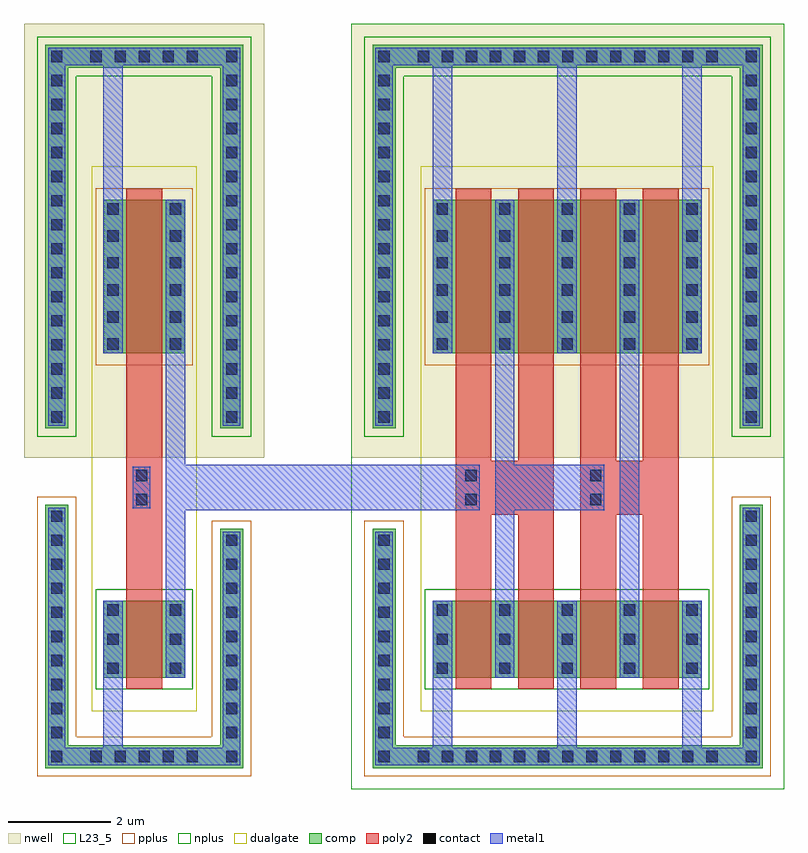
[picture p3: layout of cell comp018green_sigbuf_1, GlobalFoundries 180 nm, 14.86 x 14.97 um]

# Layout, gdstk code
import gdstk
lib = gdstk.Library(unit=1e-6, precision=1e-09)
def R(c, l, rs):  # rectangles x0, y0, x1, y1
    for r in rs: c.add(gdstk.rectangle(r[:2], r[2:], *l))
def A(c, l, x, y, w, h, nx, ny, dx, dy):  # array of equal rectangles
    R(c, l, [(x+i*dx, y+j*dy, x+i*dx+w, y+j*dy+h) for i in range(nx) for j in range(ny)])
nwell = (21, 0)
comp = (22, 0)
L23_5 = (23, 5)
poly2 = (30, 0)
pplus = (31, 0)
nplus = (32, 0)
contact = (33, 0)
metal1 = (34, 0)
dualgate = (55, 0)

nmos_6p0_cdns_4066195314 = lib.new_cell('nmos_6p0_CDNS_4066195314530')
R(nmos_6p0_cdns_4066195314, comp, [(-0.44,0,-0.08,1.5), (-0.44,0,1.14,1.5), (0.78,0,1.14,1.5)])
R(nmos_6p0_cdns_4066195314, poly2, [(0,-0.22,0.7,1.72), (0,1.5,0.7,1.72)])
R(nmos_6p0_cdns_4066195314, nplus, [(-0.6,-0.23,1.3,1.73)])
A(nmos_6p0_cdns_4066195314, contact, -0.37, 0.07, 0.22, 0.22, 1, 3, 0, 0.57)
A(nmos_6p0_cdns_4066195314, contact, 0.85, 0.07, 0.22, 0.22, 1, 3, 0, 0.57)
R(nmos_6p0_cdns_4066195314, metal1, [(-0.375,0,-0.145,1.5), (-0.375,0,-0.145,1.5), (0.845,0,1.075,1.5), (0.845,0,1.075,1.5)])
R(nmos_6p0_cdns_4066195314, dualgate, [(-0.68,-0.62,1.38,2.12)])

m1_nwell_cdns_4066195314 = lib.new_cell('M1_NWELL_CDNS_40661953145273')
R(m1_nwell_cdns_4066195314, nwell, [(-1.58,-0.64,1.58,0.64)])
R(m1_nwell_cdns_4066195314, comp, [(-1.165,-0.225,1.165,0.225)])
R(m1_nwell_cdns_4066195314, nplus, [(-1.325,-0.385,1.325,0.385)])
A(m1_nwell_cdns_4066195314, contact, -1.05, -0.11, 0.22, 0.22, 5, 1, 0.47, 0)
R(m1_nwell_cdns_4066195314, metal1, [(-1.11,-0.17,1.11,0.17)])

c_m1_nwell_cdns_4066195314 = lib.new_cell('M1_NWELL_CDNS_40661953145274')
R(c_m1_nwell_cdns_4066195314, nwell, [(-3.46,-0.64,3.46,0.64)])
R(c_m1_nwell_cdns_4066195314, comp, [(-3.045,-0.225,3.045,0.225)])
R(c_m1_nwell_cdns_4066195314, nplus, [(-3.205,-0.385,3.205,0.385)])
A(c_m1_nwell_cdns_4066195314, contact, -2.93, -0.11, 0.22, 0.22, 13, 1, 0.47, 0)
R(c_m1_nwell_cdns_4066195314, metal1, [(-2.99,-0.17,2.99,0.17)])

pmos_6p0_cdns_4066195314 = lib.new_cell('pmos_6p0_CDNS_4066195314512')
R(pmos_6p0_cdns_4066195314, nwell, [(-1.04,-0.6,1.74,3.6)])
R(pmos_6p0_cdns_4066195314, comp, [(-0.44,0,-0.08,3), (-0.44,0,1.14,3), (0.78,0,1.14,3)])
R(pmos_6p0_cdns_4066195314, poly2, [(0,-0.22,0.7,3.22), (0,3,0.7,3.22)])
R(pmos_6p0_cdns_4066195314, pplus, [(-0.6,-0.23,1.3,3.23)])
A(pmos_6p0_cdns_4066195314, contact, -0.37, 0.07, 0.22, 0.22, 1, 4, 0, 0.53)
A(pmos_6p0_cdns_4066195314, contact, 0.85, 0.07, 0.22, 0.22, 1, 4, 0, 0.53)
R(pmos_6p0_cdns_4066195314, contact, [(-0.37,2.185,-0.15,2.405), (0.85,2.185,1.07,2.405), (-0.37,2.71,-0.15,2.93), (0.85,2.71,1.07,2.93)])
R(pmos_6p0_cdns_4066195314, metal1, [(-0.375,0,-0.145,3), (-0.375,0,-0.145,3), (0.845,0,1.075,3), (0.845,0,1.075,3)])
R(pmos_6p0_cdns_4066195314, dualgate, [(-0.68,-0.62,1.38,3.62)])

c_m1_nwell_cdns_4066195314_ = lib.new_cell('M1_NWELL_CDNS_40661953145223')
R(c_m1_nwell_cdns_4066195314_, nwell, [(-0.64,-4.165,0.64,4.165)])
R(c_m1_nwell_cdns_4066195314_, comp, [(-0.225,-3.75,0.225,3.75)])
R(c_m1_nwell_cdns_4066195314_, nplus, [(-0.385,-3.91,0.385,3.91)])
A(c_m1_nwell_cdns_4066195314_, contact, -0.11, -3.635, 0.22, 0.22, 1, 16, 0, 0.47)
R(c_m1_nwell_cdns_4066195314_, metal1, [(-0.17,-3.695,0.17,3.695)])

c_nmos_6p0_cdns_4066195314 = lib.new_cell('nmos_6p0_CDNS_4066195314531')
A(c_nmos_6p0_cdns_4066195314, comp, -0.44, 0, 0.36, 1.5, 3, 1, 1.22, 0)
R(c_nmos_6p0_cdns_4066195314, comp, [(-0.44,0,2.36,1.5)])
R(c_nmos_6p0_cdns_4066195314, poly2, [(0,-0.22,0.7,1.72), (1.22,-0.22,1.92,1.72), (0,1.5,0.7,1.72), (1.22,1.5,1.92,1.72)])
R(c_nmos_6p0_cdns_4066195314, nplus, [(-0.6,-0.23,2.52,1.73)])
A(c_nmos_6p0_cdns_4066195314, contact, -0.37, 0.07, 0.22, 0.22, 3, 3, 1.22, 0.57)
R(c_nmos_6p0_cdns_4066195314, metal1, [(-0.375,0,-0.145,1.5), (-0.375,0,-0.145,1.5), (0.845,0,1.075,1.5), (0.845,0,1.075,1.5), (2.065,0,2.295,1.5), (2.065,0,2.295,1.5)])
R(c_nmos_6p0_cdns_4066195314, dualgate, [(-0.68,-0.62,2.6,2.12)])

c_pmos_6p0_cdns_4066195314 = lib.new_cell('pmos_6p0_CDNS_4066195314529')
R(c_pmos_6p0_cdns_4066195314, nwell, [(-1.04,-0.6,2.96,3.6)])
A(c_pmos_6p0_cdns_4066195314, comp, -0.44, 0, 0.36, 3, 3, 1, 1.22, 0)
R(c_pmos_6p0_cdns_4066195314, comp, [(-0.44,0,2.36,3)])
R(c_pmos_6p0_cdns_4066195314, poly2, [(0,-0.22,0.7,3.22), (1.22,-0.22,1.92,3.22), (0,3,0.7,3.22), (1.22,3,1.92,3.22)])
R(c_pmos_6p0_cdns_4066195314, pplus, [(-0.6,-0.23,2.52,3.23)])
A(c_pmos_6p0_cdns_4066195314, contact, -0.37, 0.07, 0.22, 0.22, 3, 4, 1.22, 0.53)
A(c_pmos_6p0_cdns_4066195314, contact, -0.37, 2.185, 0.22, 0.22, 3, 2, 1.22, 0.525)
R(c_pmos_6p0_cdns_4066195314, metal1, [(-0.375,0,-0.145,3), (-0.375,0,-0.145,3), (0.845,0,1.075,3), (0.845,0,1.075,3), (2.065,0,2.295,3), (2.065,0,2.295,3)])
R(c_pmos_6p0_cdns_4066195314, dualgate, [(-0.68,-0.62,2.6,3.62)])

m1_psub_cdns_69033583165 = lib.new_cell('M1_PSUB_CDNS_69033583165609')
R(m1_psub_cdns_69033583165, comp, [(-0.225,-2.575,0.225,2.575)])
R(m1_psub_cdns_69033583165, pplus, [(-0.385,-2.735,0.385,2.735)])
A(m1_psub_cdns_69033583165, contact, -0.11, -2.46, 0.22, 0.22, 1, 11, 0, 0.47)
R(m1_psub_cdns_69033583165, metal1, [(-0.17,-2.52,0.17,2.52)])

m1_poly2_cdns_6903358316 = lib.new_cell('M1_POLY2_CDNS_69033583165610')
R(m1_poly2_cdns_6903358316, poly2, [(-0.21,-0.445,0.21,0.445)])
R(m1_poly2_cdns_6903358316, contact, [(-0.11,-0.345,0.11,-0.125), (-0.11,0.125,0.11,0.345)])
R(m1_poly2_cdns_6903358316, metal1, [(-0.17,-0.405,0.17,0.405)])

c_m1_psub_cdns_69033583165 = lib.new_cell('M1_PSUB_CDNS_69033583165611')
R(c_m1_psub_cdns_69033583165, comp, [(-0.225,-2.34,0.225,2.34)])
R(c_m1_psub_cdns_69033583165, pplus, [(-0.385,-2.5,0.385,2.5)])
A(c_m1_psub_cdns_69033583165, contact, -0.11, -2.225, 0.22, 0.22, 1, 10, 0, 0.47)
R(c_m1_psub_cdns_69033583165, metal1, [(-0.17,-2.285,0.17,2.285)])

c_m1_psub_cdns_69033583165_ = lib.new_cell('M1_PSUB_CDNS_69033583165621')
R(c_m1_psub_cdns_69033583165_, comp, [(-1.165,-0.225,1.165,0.225)])
R(c_m1_psub_cdns_69033583165_, pplus, [(-1.325,-0.385,1.325,0.385)])
A(c_m1_psub_cdns_69033583165_, contact, -1.05, -0.11, 0.22, 0.22, 5, 1, 0.47, 0)
R(c_m1_psub_cdns_69033583165_, metal1, [(-1.11,-0.17,1.11,0.17)])

c_m1_psub_cdns_69033583165__ = lib.new_cell('M1_PSUB_CDNS_69033583165695')
R(c_m1_psub_cdns_69033583165__, comp, [(-3.045,-0.225,3.045,0.225)])
R(c_m1_psub_cdns_69033583165__, pplus, [(-3.205,-0.385,3.205,0.385)])
A(c_m1_psub_cdns_69033583165__, contact, -2.93, -0.11, 0.22, 0.22, 13, 1, 0.47, 0)
R(c_m1_psub_cdns_69033583165__, metal1, [(-2.99,-0.17,2.99,0.17)])

comp018green_sigbuf_1 = lib.new_cell('comp018green_sigbuf_1')
R(comp018green_sigbuf_1, nwell, [(-0.415,6.065,4.285,14.555), (5.985,6.065,14.445,14.555)])
R(comp018green_sigbuf_1, comp, [(0.45,0,0.77,0.45), (3.1,0,3.42,0.45), (6.85,0,7.17,0.45), (13.26,0,13.58,0.45), (0.45,13.69,0.77,14.14), (3.1,13.69,3.42,14.14), (6.85,13.69,7.17,14.14), (13.26,13.69,13.58,14.14)])
R(comp018green_sigbuf_1, L23_5, [(5.985,-0.415,14.445,14.555)])
A(comp018green_sigbuf_1, poly2, 8.025, 3.49, 0.7, 6.08, 4, 1, 1.22, 0)
R(comp018green_sigbuf_1, poly2, [(1.585,3.49,2.285,7.89), (8.025,4.955,9.945,6.01), (10.465,4.955,12.385,6.01)])
R(comp018green_sigbuf_1, metal1, [(0.395,0.055,0.825,0.395), (3.045,0.055,3.475,0.395), (6.795,0.055,7.225,0.395), (13.205,0.055,13.635,0.395), (2.355,5.04,8.495,5.93), (8.795,5.04,10.935,5.93), (0.395,13.745,0.825,14.085), (3.045,13.745,3.475,14.085), (6.795,13.745,7.225,14.085), (13.205,13.745,13.635,14.085)])
R(comp018green_sigbuf_1, dualgate, [(0.905,1.11,2.965,11.77), (7.345,1.11,13.065,11.77)])
comp018green_sigbuf_1.add(gdstk.FlexPath([(8.985,1.77),(8.985,11.11)], 0.38, ends="flush", simple_path=True, layer=34, datatype=0))  # metal1
comp018green_sigbuf_1.add(gdstk.FlexPath([(7.765,8.11),(7.765,14.06)], 0.38, ends="flush", simple_path=True, layer=34, datatype=0))  # metal1
comp018green_sigbuf_1.add(gdstk.FlexPath([(12.645,8.11),(12.645,14.06)], 0.38, ends="flush", simple_path=True, layer=34, datatype=0))  # metal1
comp018green_sigbuf_1.add(gdstk.FlexPath([(7.765,3.27),(7.765,0.195)], 0.38, ends="flush", simple_path=True, layer=34, datatype=0))  # metal1
comp018green_sigbuf_1.add(gdstk.FlexPath([(12.645,3.27),(12.645,0.195)], 0.38, ends="flush", simple_path=True, layer=34, datatype=0))  # metal1
comp018green_sigbuf_1.add(gdstk.FlexPath([(11.425,1.77),(11.425,11.11)], 0.38, ends="flush", simple_path=True, layer=34, datatype=0))  # metal1
comp018green_sigbuf_1.add(gdstk.FlexPath([(10.205,3.27),(10.205,0.195)], 0.38, ends="flush", simple_path=True, layer=34, datatype=0))  # metal1
comp018green_sigbuf_1.add(gdstk.FlexPath([(10.205,8.11),(10.205,14.06)], 0.38, ends="flush", simple_path=True, layer=34, datatype=0))  # metal1
comp018green_sigbuf_1.add(gdstk.FlexPath([(2.545,11.11),(2.545,1.77)], 0.38, ends="flush", simple_path=True, layer=34, datatype=0))  # metal1
comp018green_sigbuf_1.add(gdstk.FlexPath([(1.325,0.21),(1.325,3.27)], 0.38, ends="flush", simple_path=True, layer=34, datatype=0))  # metal1
comp018green_sigbuf_1.add(gdstk.FlexPath([(1.325,8.11),(1.325,14)], 0.38, ends="flush", simple_path=True, layer=34, datatype=0))  # metal1
comp018green_sigbuf_1.add(gdstk.Reference(nmos_6p0_cdns_4066195314, (1.585,1.77)))
comp018green_sigbuf_1.add(gdstk.Reference(m1_nwell_cdns_4066195314, (1.935,13.915)))
comp018green_sigbuf_1.add(gdstk.Reference(c_m1_nwell_cdns_4066195314, (10.215,13.915)))
comp018green_sigbuf_1.add(gdstk.Reference(pmos_6p0_cdns_4066195314, (1.585,8.11)))
comp018green_sigbuf_1.add(gdstk.Reference(c_m1_nwell_cdns_4066195314_, (13.805,10.39)))
comp018green_sigbuf_1.add(gdstk.Reference(c_m1_nwell_cdns_4066195314_, (0.225,10.39)))
comp018green_sigbuf_1.add(gdstk.Reference(c_m1_nwell_cdns_4066195314_, (3.645,10.39)))
comp018green_sigbuf_1.add(gdstk.Reference(c_m1_nwell_cdns_4066195314_, (6.625,10.39)))
comp018green_sigbuf_1.add(gdstk.Reference(c_nmos_6p0_cdns_4066195314, (10.465,1.77)))
comp018green_sigbuf_1.add(gdstk.Reference(c_nmos_6p0_cdns_4066195314, (8.025,1.77)))
comp018green_sigbuf_1.add(gdstk.Reference(c_pmos_6p0_cdns_4066195314, (10.465,8.11)))
comp018green_sigbuf_1.add(gdstk.Reference(c_pmos_6p0_cdns_4066195314, (8.025,8.11)))
comp018green_sigbuf_1.add(gdstk.Reference(m1_psub_cdns_69033583165, (0.225,2.575), x_reflection=True))
comp018green_sigbuf_1.add(gdstk.Reference(m1_psub_cdns_69033583165, (13.805,2.575), x_reflection=True))
comp018green_sigbuf_1.add(gdstk.Reference(m1_poly2_cdns_6903358316, (10.765,5.485)))
comp018green_sigbuf_1.add(gdstk.Reference(m1_poly2_cdns_6903358316, (8.325,5.485)))
comp018green_sigbuf_1.add(gdstk.Reference(m1_poly2_cdns_6903358316, (1.885,5.485)))
comp018green_sigbuf_1.add(gdstk.Reference(c_m1_psub_cdns_69033583165, (3.645,2.34), x_reflection=True))
comp018green_sigbuf_1.add(gdstk.Reference(c_m1_psub_cdns_69033583165, (6.625,2.34), x_reflection=True))
comp018green_sigbuf_1.add(gdstk.Reference(c_m1_psub_cdns_69033583165_, (1.935,0.225), x_reflection=True))
comp018green_sigbuf_1.add(gdstk.Reference(c_m1_psub_cdns_69033583165__, (10.215,0.225), x_reflection=True))

lib.write_gds('comp018green_sigbuf_1.gds')
